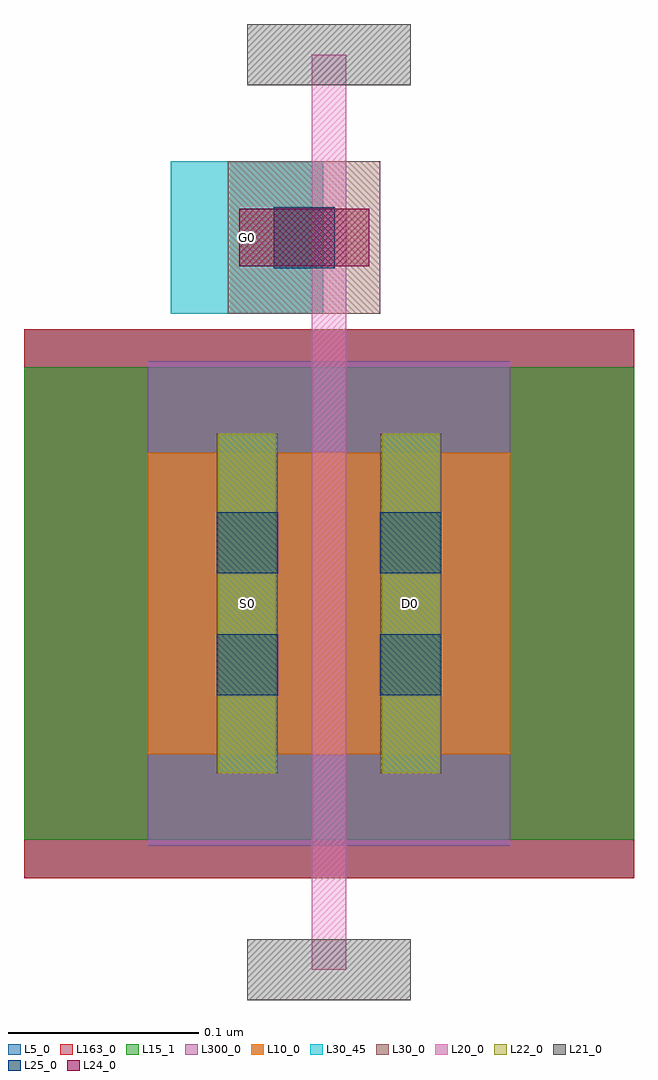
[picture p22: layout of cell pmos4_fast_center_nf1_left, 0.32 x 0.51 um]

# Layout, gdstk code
import gdstk
lib = gdstk.Library(unit=1e-6, precision=5e-10)
def R(c, l, rs):  # rectangles x0, y0, x1, y1
    for r in rs: c.add(gdstk.rectangle(r[:2], r[2:], *l))
L5_0 = (5, 0)
L10_0 = (10, 0)
L15_1 = (15, 1)
L20_0 = (20, 0)
L21_0 = (21, 0)
L22_0 = (22, 0)
L24_0 = (24, 0)
L25_0 = (25, 0)
L30_0 = (30, 0)
L30_45 = (30, 45)
L163_0 = (163, 0)
L300_0 = (300, 0)

p1lvt_cdns_548863453660 = lib.new_cell('p1lvt_CDNS_548863453660')
R(p1lvt_cdns_548863453660, L5_0, [(-0.151,-0.065,0.169,0.223)])
R(p1lvt_cdns_548863453660, L10_0, [(-0.086,0,0,0.158), (0,0,0.018,0.158), (0.018,0,0.104,0.158)])
R(p1lvt_cdns_548863453660, L15_1, [(-0.151,-0.045,0.169,0.203)])
R(p1lvt_cdns_548863453660, L20_0, [(0,-0.048,0.018,0), (0,0,0.018,0.158), (0,0.158,0.018,0.206)])
R(p1lvt_cdns_548863453660, L22_0, [(-0.049,-0.01,-0.019,0.168), (0.037,-0.01,0.067,0.168)])
R(p1lvt_cdns_548863453660, L163_0, [(-0.151,-0.065,0.169,0.223)])
R(p1lvt_cdns_548863453660, L300_0, [(-0.086,-0.048,0.104,0.206)])
p1lvt_cdns_548863453660.add(gdstk.Label('0.158/0.018', (0.009,0.0365), layer=63, texttype=0))
p1lvt_cdns_548863453660.add(gdstk.Label('[@instanceName]', (0.009,0.066), layer=63, texttype=0))

c__pmos4_fast_base_nf1 = lib.new_cell('_pmos4_fast_base_nf1')
R(c__pmos4_fast_base_nf1, L20_0, [(0.034,0,0.052,0.48)])
R(c__pmos4_fast_base_nf1, L21_0, [(0,-0.016,0.086,0.016), (0,0.464,0.086,0.496)])
c__pmos4_fast_base_nf1.add(gdstk.Reference(p1lvt_cdns_548863453660, (0.034,0.113)))

c__sd_base = lib.new_cell('_sd_base')
R(c__sd_base, L25_0, [(-0.016,0.144,0.016,0.176), (-0.016,0.208,0.016,0.24)])
R(c__sd_base, L30_0, [(-0.016,0.103,0.016,0.281)])

c__gate_base_nf1_left = lib.new_cell('_gate_base_nf1_left')
R(c__gate_base_nf1_left, L24_0, [(-0.004,0.369,0.064,0.399)])
R(c__gate_base_nf1_left, L25_0, [(0.014,0.368,0.046,0.4)])
R(c__gate_base_nf1_left, L30_0, [(-0.01,0.344,0.07,0.424)])

pmos4_fast_center_nf1_le = lib.new_cell('pmos4_fast_center_nf1_left')
R(pmos4_fast_center_nf1_le, L30_45, [(-0.016,0.103,0.016,0.281), (0.07,0.103,0.102,0.281), (-0.04,0.344,0.04,0.424)])
pmos4_fast_center_nf1_le.add(gdstk.Reference(c__pmos4_fast_base_nf1, (0,0)))
pmos4_fast_center_nf1_le.add(gdstk.Reference(c__sd_base, (0,0)))
pmos4_fast_center_nf1_le.add(gdstk.Reference(c__sd_base, (0.086,0)))
pmos4_fast_center_nf1_le.add(gdstk.Reference(c__gate_base_nf1_left, (0,0)))
pmos4_fast_center_nf1_le.add(gdstk.Label('D0', (0.086,0.192), layer=30, texttype=45))
pmos4_fast_center_nf1_le.add(gdstk.Label('G0', (0,0.384), layer=30, texttype=45))
pmos4_fast_center_nf1_le.add(gdstk.Label('S0', (0,0.192), layer=30, texttype=45))

lib.write_gds('pmos4_fast_center_nf1_left.gds')
